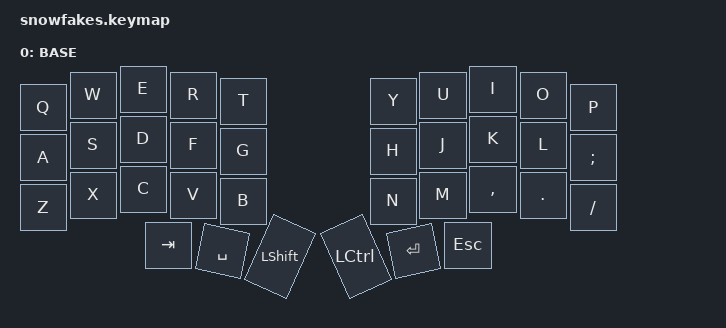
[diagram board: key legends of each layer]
// Copyright 2025 saikocat (@saikocat)
// SPDX-License-Identifier: MIT

#include <behaviors.dtsi>
#include <dt-bindings/zmk/keys.h>
#include <dt-bindings/zmk/bt.h>

/ {
    combos {
        compatible = "zmk,combos";
        combo_esc {
            timeout-ms = <50>;
            key-positions = <0 1>;
            bindings = <&kp ESC>;
        };
    };

    keymap {
        compatible = "zmk,keymap";

        layer_base {
            display-name = "BASE";
            bindings = <
                   &kp Q &kp W &kp E &kp R &kp T     &kp Y &kp U  &kp I     &kp O   &kp P
                   &kp A &kp S &kp D &kp F &kp G     &kp H &kp J  &kp K     &kp L   &kp SEMI
                   &kp Z &kp X &kp C &kp V &kp B     &kp N &kp M  &kp COMMA &kp DOT &kp FSLH
                     &kp TAB &kp SPACE &kp LSHFT     &kp LCTRL &kp RET &kp ESC
            >;
        };
    };
};

// vim: ft=dts et
